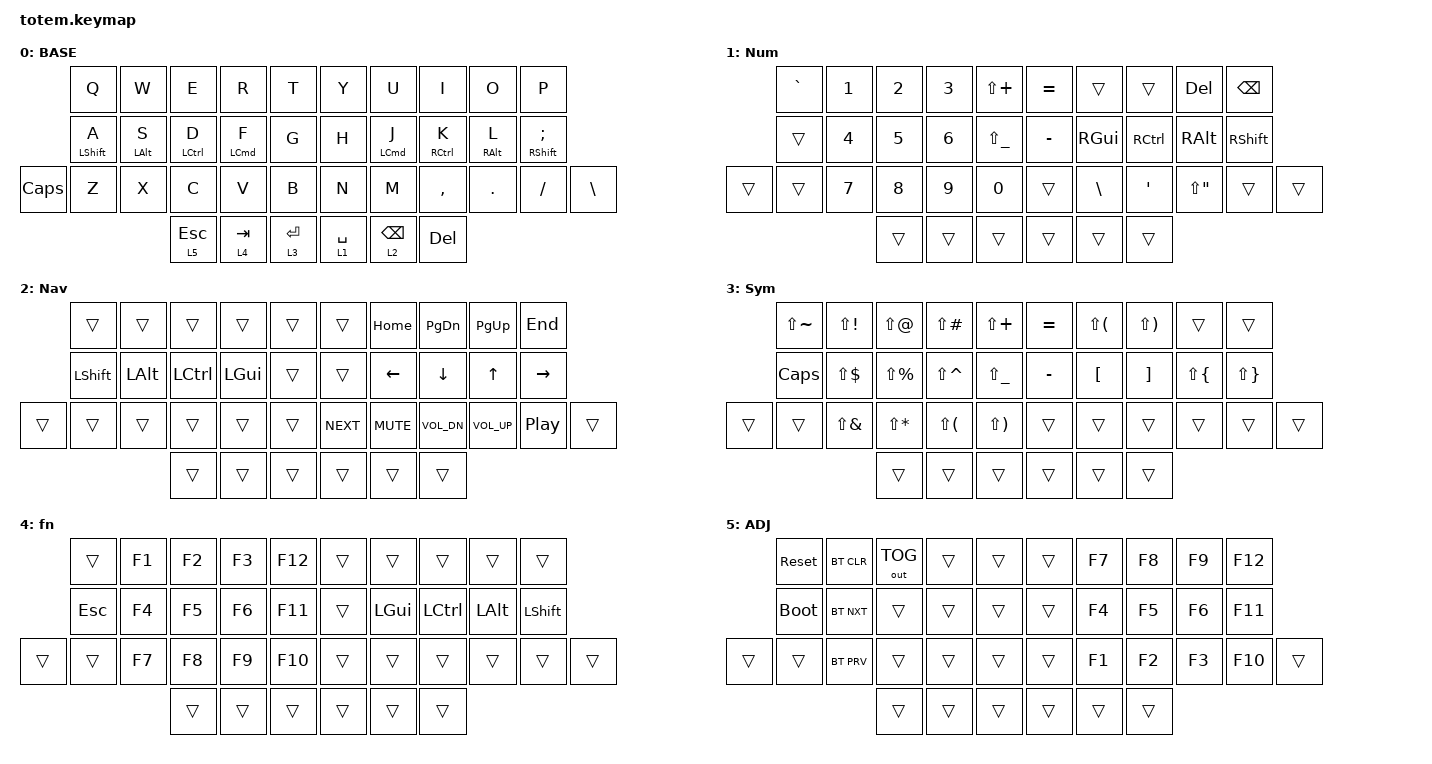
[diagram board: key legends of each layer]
//
//                                                        ▀▀▀▀▀     ▀▀▀▀▀          ▀▀█▀▀
//                                                        ▄▀▀▀▄  ▄  ▄▀▀▀▄  ▄  ▄▀▀▀▄  █  ▄▀▀▀▄
//                                                        █   █  █  █   █  █  █   █  █  █   █
//                                                         ▀▀▀   █   ▀▀▀   █   ▀▀▀   ▀   ▀▀▀
//                                                               █      ▄▄▄█▄▄▄    █   █  
//                                                               ▀      █  █  █     █▄█
//                                                             ▀▀▀▀▀    █  █  █      ▀
//                                                                      ▀  ▀  ▀
//
// ▄▄▄▄▄▄▄▄▄▄▄▄▄▄▄▄▄▄▄▄▄▄▄▄▄▄▄▄▄▄▄▄▄▄▄▄▄▄▄▄▄▄▄▄▄▄▄▄▄▄▄▄▄▄▄▄▄▄▄▄▄▄▄▄▄▄▄▄▄▄▄▄▄▄▄▄▄▄▄▄▄▄▄▄▄▄▄▄▄▄▄▄▄▄▄▄▄▄▄▄▄▄▄▄▄▄▄▄▄▄▄▄▄▄▄▄▄▄▄▄▄▄▄▄▄▄▄▄▄▄▄▄▄▄▄▄▄▄▄▄▄▄▄▄▄▄▄▄▄

#include <behaviors.dtsi>
#include <dt-bindings/zmk/bt.h>
#include <dt-bindings/zmk/keys.h>
#include <dt-bindings/zmk/outputs.h>

#define BASE 0
#define NAV  1
#define SYM  2
#define ADJ  3
#define TVP1 4
#define TVP2 5

&mt {
    quick-tap-ms = <100>;
    global-quick-tap;
    flavor = "balanced";
    tapping-term-ms = <150>;
};

&lt {
    tapping-term-ms = <150>;
    flavor = "balanced";
};

/ {
    combos {
        compatible = "zmk,combos";

        combo_esc {
            timeout-ms = <50>;
            key-positions = <0 1>;
            bindings = <&kp ESC>;
        };

        combo_backslash {
            bindings = <&kp BACKSLASH>;
            key-positions = <27 28>;
        };

        combo_sqt {
            bindings = <&kp SINGLE_QUOTE>;
            key-positions = <28 29>;
        };

        combo_dqt {
            bindings = <&kp DOUBLE_QUOTES>;
            key-positions = <29 30>;
        };
    };

    keymap {
        compatible = "zmk,keymap";

        // ▄▄▄▄▄▄▄▄▄▄▄▄▄▄▄▄▄▄▄▄▄▄▄▄▄▄▄▄▄▄▄▄▄▄▄▄▄▄▄▄▄▄▄▄▄▄▄▄▄▄▄▄▄▄▄▄▄▄▄▄▄▄▄▄▄▄▄▄▄▄▄▄▄▄▄▄▄▄▄▄▄▄▄▄▄▄▄▄▄▄▄▄▄▄▄▄▄▄▄▄▄▄▄▄▄▄▄▄▄▄▄▄▄▄▄▄▄▄▄▄▄▄▄▄▄▄▄▄▄▄▄▄▄▄▄▄▄▄▄▄▄▄▄▄▄▄▄▄▄

        base_layer {
            // ┏━━━━━━━━━━━━━━━━━━━━━━━━━━━━━━━━━━━━━━━┓

            label = "BASE";

            // ┗━━━━━━━━━━━━━━━━━━━━━━━━━━━━━━━━━━━━━━━┛
            //             ┏━━━━━━━━━━━┳━━━━━━━━━━━┳━━━━━━━━━━━┳━━━━━━━━━━━┳━━━━━━━━━━━┓   ┏━━━━━━━━━━━┳━━━━━━━━━━━┳━━━━━━━━━━━┳━━━━━━━━━━━┳━━━━━━━━━━━┓
            //             ┃     Q     ┃     W     ┃     F     ┃     P     ┃     G     ┃   ┃     J     ┃     L     ┃     U     ┃     Y     ┃     ;     ┃
            //             ┣━━━━━━━━━━━╋━━━━━━━━━━━╋━━━━━━━━━━━╋━━━━━━━━━━━╋━━━━━━━━━━━┫   ┣━━━━━━━━━━━╋━━━━━━━━━━━╋━━━━━━━━━━━╋━━━━━━━━━━━╋━━━━━━━━━━━┫
            //             ┃     A     ┃     R     ┃     S     ┃     T     ┃     D     ┃   ┃     H     ┃     N     ┃     E     ┃     I     ┃     O     ┃
            // ┏━━━━━━━━━━━╋━━━━━━━━━━━╋━━━━━━━━━━━╋━━━━━━━━━━━╋━━━━━━━━━━━╋━━━━━━━━━━━┫   ┣━━━━━━━━━━━╋━━━━━━━━━━━╋━━━━━━━━━━━╋━━━━━━━━━━━╋━━━━━━━━━━━╋━━━━━━━━━━━┓
            // ┃     Q     ┃     Z     ┃     X     ┃     C     ┃     V     ┃     B     ┃   ┃     K     ┃     M     ┃     ,     ┃     .     ┃     /     ┃     \     ┃
            // ┗━━━━━━━━━━━┻━━━━━━━━━━━┻━━━━━━━━━━━╋━━━━━━━━━━━╋━━━━━━━━━━━╋━━━━━━━━━━━┫   ┣━━━━━━━━━━━╋━━━━━━━━━━━╋━━━━━━━━━━━╋━━━━━━━━━━━┻━━━━━━━━━━━┻━━━━━━━━━━━┛
            //                                     ┃    DEL    ┃    TAB    ┃    SPC    ┃   ┃   ENTER   ┃           ┃   BSPC    ┃
            //                                     ┗━━━━━━━━━━━┻━━━━━━━━━━━┻━━━━━━━━━━━┛   ┗━━━━━━━━━━━┻━━━━━━━━━━━┻━━━━━━━━━━━┛

            bindings = <
              &kp Q        &kp W       &kp E         &kp R       &kp T          &kp Y        &kp U            &kp I        &kp O       &kp P
              &mt LSHFT A  &mt LALT S  &mt LCTRL D   &mt LCMD F  &kp G          &kp H        &mt LCMD J       &mt RCTRL K  &mt RALT L  &mt RSHFT SEMICOLON
&kp CAPSLOCK  &kp Z        &kp X       &kp C         &kp V       &kp B          &kp N        &kp M            &kp COMMA    &kp DOT     &kp FSLH             &kp BSLH
                                       &lt 5 ESCAPE  &lt 4 TAB   &lt 3 ENTER    &lt 1 SPACE  &lt 2 BACKSPACE  &kp DELETE
            >;
        };

        Num {
            bindings = <
        &kp GRAVE  &kp N1  &kp N2  &kp N3  &kp LS(PLUS)     &kp EQUAL  &trans    &trans     &kp DEL      &kp BSPC
        &trans     &kp N4  &kp N5  &kp N6  &kp LS(UNDER)    &kp MINUS  &kp RGUI  &kp RCTRL  &kp RALT     &kp RSHFT
&trans  &trans     &kp N7  &kp N8  &kp N9  &kp N0           &trans     &kp BSLH  &kp SQT    &kp LS(DQT)  &trans     &trans
                           &trans  &trans  &trans           &trans     &trans    &trans
            >;
        };

        Nav {
            bindings = <
        &trans     &trans    &trans     &trans    &trans    &trans      &kp HOME    &kp PG_DN     &kp PG_UP     &kp END
        &kp LSHFT  &kp LALT  &kp LCTRL  &kp LGUI  &trans    &trans      &kp LEFT    &kp DOWN      &kp UP        &kp RIGHT
&trans  &trans     &trans    &trans     &trans    &trans    &kp C_NEXT  &kp C_MUTE  &kp C_VOL_DN  &kp C_VOL_UP  &kp C_PLAY_PAUSE  &trans
                             &trans     &trans    &trans    &trans      &trans      &trans
            >;
        };

        Sym {
            bindings = <
        &kp LS(TILDE)  &kp LS(EXCL)  &kp LS(AT)     &kp LS(POUND)  &kp LS(PLUS)     &kp EQUAL  &kp LS(LPAR)  &kp LS(RPAR)  &trans        &trans
        &kp CAPS       &kp LS(DLLR)  &kp LS(PRCNT)  &kp LS(CARET)  &kp LS(UNDER)    &kp MINUS  &kp LBKT      &kp RBKT      &kp LS(LBRC)  &kp LS(RBRC)
&trans  &trans         &kp LS(AMPS)  &kp LS(STAR)   &kp LS(LPAR)   &kp LS(RPAR)     &trans     &trans        &trans        &trans        &trans        &trans
                                     &trans         &trans         &trans           &trans     &trans        &trans
            >;
        };

        fn {
            bindings = <
        &trans   &kp F1  &kp F2  &kp F3  &kp F12    &trans  &trans    &trans     &trans    &trans
        &kp ESC  &kp F4  &kp F5  &kp F6  &kp F11    &trans  &kp LGUI  &kp LCTRL  &kp LALT  &kp LSHFT
&trans  &trans   &kp F7  &kp F8  &kp F9  &kp F10    &trans  &trans    &trans     &trans    &trans     &trans
                         &trans  &trans  &trans     &trans  &trans    &trans
            >;
        };

        adjust_layer {
            // ┏━━━━━━━━━━━━━━━━━━━━━━━━━━━━━━━━━━━━━━━┓

            label = "ADJ";

            // ┗━━━━━━━━━━━━━━━━━━━━━━━━━━━━━━━━━━━━━━━┛
            //             ┏━━━━━━━━━━━┳━━━━━━━━━━━┳━━━━━━━━━━━┳━━━━━━━━━━━┳━━━━━━━━━━━┓   ┏━━━━━━━━━━━┳━━━━━━━━━━━┳━━━━━━━━━━━┳━━━━━━━━━━━┳━━━━━━━━━━━┓
            //             ┃   RESET   ┃ BT CLEAR  ┃  OUT TOG  ┃           ┃           ┃   ┃           ┃    F7     ┃    F8     ┃    F9     ┃    F12    ┃
            //             ┣━━━━━━━━━━━╋━━━━━━━━━━━╋━━━━━━━━━━━╋━━━━━━━━━━━╋━━━━━━━━━━━┫   ┣━━━━━━━━━━━╋━━━━━━━━━━━╋━━━━━━━━━━━╋━━━━━━━━━━━╋━━━━━━━━━━━┫
            //             ┃ BOOTLOAD  ┃ BT NEXT   ┃           ┃           ┃           ┃   ┃           ┃    F4     ┃    F5     ┃    F6     ┃    F11    ┃
            // ┏━━━━━━━━━━━╋━━━━━━━━━━━╋━━━━━━━━━━━╋━━━━━━━━━━━╋━━━━━━━━━━━╋━━━━━━━━━━━┫   ┣━━━━━━━━━━━╋━━━━━━━━━━━╋━━━━━━━━━━━╋━━━━━━━━━━━╋━━━━━━━━━━━╋━━━━━━━━━━━┓
            // ┃           ┃           ┃ BT PREV   ┃           ┃           ┃           ┃   ┃           ┃    F1     ┃    F2     ┃    F3     ┃    F10    ┃           ┃
            // ┗━━━━━━━━━━━┻━━━━━━━━━━━┻━━━━━━━━━━━╋━━━━━━━━━━━╋━━━━━━━━━━━╋━━━━━━━━━━━┫   ┣━━━━━━━━━━━╋━━━━━━━━━━━╋━━━━━━━━━━━╋━━━━━━━━━━━┻━━━━━━━━━━━┻━━━━━━━━━━━┛
            //                                     ┃           ┃           ┃           ┃   ┃           ┃           ┃           ┃
            //                                     ┗━━━━━━━━━━━┻━━━━━━━━━━━┻━━━━━━━━━━━┛   ┗━━━━━━━━━━━┻━━━━━━━━━━━┻━━━━━━━━━━━┛

            bindings = <
        &sys_reset   &bt BT_CLR  &out OUT_TOG  &trans  &trans    &trans  &kp F7  &kp F8  &kp F9  &kp F12
        &bootloader  &bt BT_NXT  &trans        &trans  &trans    &trans  &kp F4  &kp F5  &kp F6  &kp F11
&trans  &trans       &bt BT_PRV  &trans        &trans  &trans    &trans  &kp F1  &kp F2  &kp F3  &kp F10  &trans
                                 &trans        &trans  &trans    &trans  &trans  &trans
            >;
        };
    };
};
